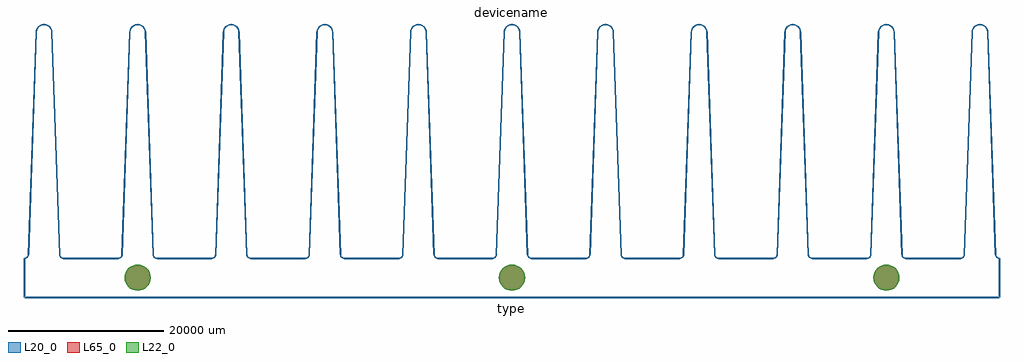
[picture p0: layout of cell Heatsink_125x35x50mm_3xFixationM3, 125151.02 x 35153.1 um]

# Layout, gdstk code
import gdstk
lib = gdstk.Library(unit=1e-6, precision=1e-09)
def P(c, l, *ps):  # polygons
    for p in ps: c.add(gdstk.Polygon(p, *l))
L20_0 = (20, 0)
L22_0 = (22, 0)
L65_0 = (65, 0)

heatsink_125x35x50mm_3xf = lib.new_cell('Heatsink_125x35x50mm_3xFixationM3')
P(heatsink_125x35x50mm_3xf, L22_0, [(49681,0),(49648.815,326.776),(49553.498,640.995),(49398.712,930.58),(49190.404,1184.404),(48936.58,1392.712),(48646.995,1547.498),(48332.776,1642.815),(48006,1675),(47679.224,1642.815),(47365.005,1547.498),(47075.42,1392.712),(46821.596,1184.404),(46613.288,930.58),(46458.502,640.995),(46363.185,326.776),(46331,0),(46363.185,-326.776),(46458.502,-640.995),(46613.288,-930.58),(46821.596,-1184.404),(47075.42,-1392.712),(47365.005,-1547.498),(47679.224,-1642.815),(48006,-1675),(48332.776,-1642.815),(48646.995,-1547.498),(48936.58,-1392.712),(49190.404,-1184.404),(49398.712,-930.58),(49553.498,-640.995),(49648.815,-326.776)],
  [(1675,0),(1642.815,326.776),(1547.498,640.995),(1392.712,930.58),(1184.404,1184.404),(930.58,1392.712),(640.995,1547.498),(326.776,1642.815),(0,1675),(-326.776,1642.815),(-640.995,1547.498),(-930.58,1392.712),(-1184.404,1184.404),(-1392.712,930.58),(-1547.498,640.995),(-1642.815,326.776),(-1675,0),(-1642.815,-326.776),(-1547.498,-640.995),(-1392.712,-930.58),(-1184.404,-1184.404),(-930.58,-1392.712),(-640.995,-1547.498),(-326.776,-1642.815),(0,-1675),(326.776,-1642.815),(640.995,-1547.498),(930.58,-1392.712),(1184.404,-1184.404),(1392.712,-930.58),(1547.498,-640.995),(1642.815,-326.776)],
  [(-46325,0),(-46357.185,326.776),(-46452.502,640.995),(-46607.288,930.58),(-46815.596,1184.404),(-47069.42,1392.712),(-47359.005,1547.498),(-47673.224,1642.815),(-48000,1675),(-48326.776,1642.815),(-48640.995,1547.498),(-48930.58,1392.712),(-49184.404,1184.404),(-49392.712,930.58),(-49547.498,640.995),(-49642.815,326.776),(-49675,0),(-49642.815,-326.776),(-49547.498,-640.995),(-49392.712,-930.58),(-49184.404,-1184.404),(-48930.58,-1392.712),(-48640.995,-1547.498),(-48326.776,-1642.815),(-48000,-1675),(-47673.224,-1642.815),(-47359.005,-1547.498),(-47069.42,-1392.712),(-46815.596,-1184.404),(-46607.288,-930.58),(-46452.502,-640.995),(-46357.185,-326.776)])
P(heatsink_125x35x50mm_3xf, L65_0, [(49681,0),(49648.815,326.776),(49553.498,640.995),(49398.712,930.58),(49190.404,1184.404),(48936.58,1392.712),(48646.995,1547.498),(48332.776,1642.815),(48006,1675),(47679.224,1642.815),(47365.005,1547.498),(47075.42,1392.712),(46821.596,1184.404),(46613.288,930.58),(46458.502,640.995),(46363.185,326.776),(46331,0),(46363.185,-326.776),(46458.502,-640.995),(46613.288,-930.58),(46821.596,-1184.404),(47075.42,-1392.712),(47365.005,-1547.498),(47679.224,-1642.815),(48006,-1675),(48332.776,-1642.815),(48646.995,-1547.498),(48936.58,-1392.712),(49190.404,-1184.404),(49398.712,-930.58),(49553.498,-640.995),(49648.815,-326.776)],
  [(1675,0),(1642.815,326.776),(1547.498,640.995),(1392.712,930.58),(1184.404,1184.404),(930.58,1392.712),(640.995,1547.498),(326.776,1642.815),(0,1675),(-326.776,1642.815),(-640.995,1547.498),(-930.58,1392.712),(-1184.404,1184.404),(-1392.712,930.58),(-1547.498,640.995),(-1642.815,326.776),(-1675,0),(-1642.815,-326.776),(-1547.498,-640.995),(-1392.712,-930.58),(-1184.404,-1184.404),(-930.58,-1392.712),(-640.995,-1547.498),(-326.776,-1642.815),(0,-1675),(326.776,-1642.815),(640.995,-1547.498),(930.58,-1392.712),(1184.404,-1184.404),(1392.712,-930.58),(1547.498,-640.995),(1642.815,-326.776)],
  [(-46325,0),(-46357.185,326.776),(-46452.502,640.995),(-46607.288,930.58),(-46815.596,1184.404),(-47069.42,1392.712),(-47359.005,1547.498),(-47673.224,1642.815),(-48000,1675),(-48326.776,1642.815),(-48640.995,1547.498),(-48930.58,1392.712),(-49184.404,1184.404),(-49392.712,930.58),(-49547.498,640.995),(-49642.815,326.776),(-49675,0),(-49642.815,-326.776),(-49547.498,-640.995),(-49392.712,-930.58),(-49184.404,-1184.404),(-48930.58,-1392.712),(-48640.995,-1547.498),(-48326.776,-1642.815),(-48000,-1675),(-47673.224,-1642.815),(-47359.005,-1547.498),(-47069.42,-1392.712),(-46815.596,-1184.404),(-46607.288,-930.58),(-46452.502,-640.995),(-46357.185,-326.776)])
heatsink_125x35x50mm_3xf.add(gdstk.FlexPath([(62501.78,-2540),(62501.78,2461.26)], 149.998, ends="flush", simple_path=True, layer=20, datatype=0))  # L20_0
heatsink_125x35x50mm_3xf.add(gdstk.FlexPath([(-62499.24,-2540),(62501.78,-2540)], 149.998, ends="flush", simple_path=True, layer=20, datatype=0))  # L20_0
heatsink_125x35x50mm_3xf.add(gdstk.FlexPath([(-62499.24,-2540),(-62499.24,2461.26)], 149.998, ends="flush", simple_path=True, layer=20, datatype=0))  # L20_0
heatsink_125x35x50mm_3xf.add(gdstk.FlexPath([(-2496.82,2461.26),(-2367.312,2478.31),(-2246.63,2528.298),(-2142.998,2607.818),(-2063.478,2711.45),(-2013.49,2832.132),(-1996.44,2961.64)], 149.998, ends="flush", simple_path=True, layer=20, datatype=0))  # L20_0
heatsink_125x35x50mm_3xf.add(gdstk.FlexPath([(2001.52,2959.1),(2018.483,2830.25),(2068.218,2710.18),(2147.334,2607.074),(2250.44,2527.958),(2370.51,2478.223),(2499.36,2461.26)], 149.998, ends="flush", simple_path=True, layer=20, datatype=0))  # L20_0
heatsink_125x35x50mm_3xf.add(gdstk.FlexPath([(1998.98,2959.1),(1000.76,31460.44)], 149.998, ends="flush", simple_path=True, layer=20, datatype=0))  # L20_0
heatsink_125x35x50mm_3xf.add(gdstk.FlexPath([(-1000.76,31460.44),(-1998.98,2959.1)], 149.998, ends="flush", simple_path=True, layer=20, datatype=0))  # L20_0
heatsink_125x35x50mm_3xf.add(gdstk.FlexPath([(1000.76,31460.44),(966.66,31719.456),(866.684,31960.82),(707.644,32168.084),(500.38,32327.124),(259.016,32427.1),(0,32461.2)], 149.998, ends="flush", simple_path=True, layer=20, datatype=0))  # L20_0
heatsink_125x35x50mm_3xf.add(gdstk.FlexPath([(0,32461.2),(-259.016,32427.1),(-500.38,32327.124),(-707.644,32168.084),(-866.684,31960.82),(-966.66,31719.456),(-1000.76,31460.44)], 149.998, ends="flush", simple_path=True, layer=20, datatype=0))  # L20_0
heatsink_125x35x50mm_3xf.add(gdstk.FlexPath([(-14495.78,2461.26),(-14366.272,2478.31),(-14245.59,2528.298),(-14141.958,2607.818),(-14062.438,2711.45),(-14012.45,2832.132),(-13995.4,2961.64)], 149.998, ends="flush", simple_path=True, layer=20, datatype=0))  # L20_0
heatsink_125x35x50mm_3xf.add(gdstk.FlexPath([(-9997.44,2959.1),(-9980.477,2830.25),(-9930.742,2710.18),(-9851.626,2607.074),(-9748.52,2527.958),(-9628.45,2478.223),(-9499.6,2461.26)], 149.998, ends="flush", simple_path=True, layer=20, datatype=0))  # L20_0
heatsink_125x35x50mm_3xf.add(gdstk.FlexPath([(-9999.98,2959.1),(-10998.2,31460.44)], 149.998, ends="flush", simple_path=True, layer=20, datatype=0))  # L20_0
heatsink_125x35x50mm_3xf.add(gdstk.FlexPath([(-12999.72,31460.44),(-13997.94,2959.1)], 149.998, ends="flush", simple_path=True, layer=20, datatype=0))  # L20_0
heatsink_125x35x50mm_3xf.add(gdstk.FlexPath([(-10998.2,31460.44),(-11032.3,31719.456),(-11132.276,31960.82),(-11291.316,32168.084),(-11498.58,32327.124),(-11739.944,32427.1),(-11998.96,32461.2)], 149.998, ends="flush", simple_path=True, layer=20, datatype=0))  # L20_0
heatsink_125x35x50mm_3xf.add(gdstk.FlexPath([(-11998.96,32461.2),(-12257.976,32427.1),(-12499.34,32327.124),(-12706.604,32168.084),(-12865.644,31960.82),(-12965.62,31719.456),(-12999.72,31460.44)], 149.998, ends="flush", simple_path=True, layer=20, datatype=0))  # L20_0
heatsink_125x35x50mm_3xf.add(gdstk.FlexPath([(-26494.74,2463.8),(-26365.232,2480.85),(-26244.55,2530.838),(-26140.918,2610.358),(-26061.398,2713.99),(-26011.41,2834.672),(-25994.36,2964.18)], 149.998, ends="flush", simple_path=True, layer=20, datatype=0))  # L20_0
heatsink_125x35x50mm_3xf.add(gdstk.FlexPath([(-21996.4,2961.64),(-21979.437,2832.79),(-21929.702,2712.72),(-21850.586,2609.614),(-21747.48,2530.498),(-21627.41,2480.763),(-21498.56,2463.8)], 149.998, ends="flush", simple_path=True, layer=20, datatype=0))  # L20_0
heatsink_125x35x50mm_3xf.add(gdstk.FlexPath([(-21998.94,2961.64),(-22997.16,31462.98)], 149.998, ends="flush", simple_path=True, layer=20, datatype=0))  # L20_0
heatsink_125x35x50mm_3xf.add(gdstk.FlexPath([(-24998.68,31462.98),(-25996.9,2961.64)], 149.998, ends="flush", simple_path=True, layer=20, datatype=0))  # L20_0
heatsink_125x35x50mm_3xf.add(gdstk.FlexPath([(-22997.16,31462.98),(-23031.26,31721.996),(-23131.236,31963.36),(-23290.276,32170.624),(-23497.54,32329.664),(-23738.904,32429.64),(-23997.92,32463.74)], 149.998, ends="flush", simple_path=True, layer=20, datatype=0))  # L20_0
heatsink_125x35x50mm_3xf.add(gdstk.FlexPath([(-23997.92,32463.74),(-24256.936,32429.64),(-24498.3,32329.664),(-24705.564,32170.624),(-24864.604,31963.36),(-24964.58,31721.996),(-24998.68,31462.98)], 149.998, ends="flush", simple_path=True, layer=20, datatype=0))  # L20_0
heatsink_125x35x50mm_3xf.add(gdstk.FlexPath([(-38496.24,2463.8),(-38366.732,2480.85),(-38246.05,2530.838),(-38142.418,2610.358),(-38062.898,2713.99),(-38012.91,2834.672),(-37995.86,2964.18)], 149.998, ends="flush", simple_path=True, layer=20, datatype=0))  # L20_0
heatsink_125x35x50mm_3xf.add(gdstk.FlexPath([(-33997.9,2961.64),(-33980.937,2832.79),(-33931.202,2712.72),(-33852.086,2609.614),(-33748.98,2530.498),(-33628.91,2480.763),(-33500.06,2463.8)], 149.998, ends="flush", simple_path=True, layer=20, datatype=0))  # L20_0
heatsink_125x35x50mm_3xf.add(gdstk.FlexPath([(-34000.44,2961.64),(-34998.66,31462.98)], 149.998, ends="flush", simple_path=True, layer=20, datatype=0))  # L20_0
heatsink_125x35x50mm_3xf.add(gdstk.FlexPath([(-37000.18,31462.98),(-37998.4,2961.64)], 149.998, ends="flush", simple_path=True, layer=20, datatype=0))  # L20_0
heatsink_125x35x50mm_3xf.add(gdstk.FlexPath([(-34998.66,31462.98),(-35032.76,31721.996),(-35132.736,31963.36),(-35291.776,32170.624),(-35499.04,32329.664),(-35740.404,32429.64),(-35999.42,32463.74)], 149.998, ends="flush", simple_path=True, layer=20, datatype=0))  # L20_0
heatsink_125x35x50mm_3xf.add(gdstk.FlexPath([(-35999.42,32463.74),(-36258.436,32429.64),(-36499.8,32329.664),(-36707.064,32170.624),(-36866.104,31963.36),(-36966.08,31721.996),(-37000.18,31462.98)], 149.998, ends="flush", simple_path=True, layer=20, datatype=0))  # L20_0
heatsink_125x35x50mm_3xf.add(gdstk.FlexPath([(-50497.74,2461.26),(-50368.232,2478.31),(-50247.55,2528.298),(-50143.918,2607.818),(-50064.398,2711.45),(-50014.41,2832.132),(-49997.36,2961.64)], 149.998, ends="flush", simple_path=True, layer=20, datatype=0))  # L20_0
heatsink_125x35x50mm_3xf.add(gdstk.FlexPath([(-45999.4,2959.1),(-45982.437,2830.25),(-45932.702,2710.18),(-45853.586,2607.074),(-45750.48,2527.958),(-45630.41,2478.223),(-45501.56,2461.26)], 149.998, ends="flush", simple_path=True, layer=20, datatype=0))  # L20_0
heatsink_125x35x50mm_3xf.add(gdstk.FlexPath([(-46001.94,2959.1),(-47000.16,31460.44)], 149.998, ends="flush", simple_path=True, layer=20, datatype=0))  # L20_0
heatsink_125x35x50mm_3xf.add(gdstk.FlexPath([(-49001.68,31460.44),(-49999.9,2959.1)], 149.998, ends="flush", simple_path=True, layer=20, datatype=0))  # L20_0
heatsink_125x35x50mm_3xf.add(gdstk.FlexPath([(-47000.16,31460.44),(-47034.26,31719.456),(-47134.236,31960.82),(-47293.276,32168.084),(-47500.54,32327.124),(-47741.904,32427.1),(-48000.92,32461.2)], 149.998, ends="flush", simple_path=True, layer=20, datatype=0))  # L20_0
heatsink_125x35x50mm_3xf.add(gdstk.FlexPath([(-48000.92,32461.2),(-48259.936,32427.1),(-48501.3,32327.124),(-48708.564,32168.084),(-48867.604,31960.82),(-48967.58,31719.456),(-49001.68,31460.44)], 149.998, ends="flush", simple_path=True, layer=20, datatype=0))  # L20_0
heatsink_125x35x50mm_3xf.add(gdstk.FlexPath([(-62496.7,2463.8),(-62367.192,2480.85),(-62246.51,2530.838),(-62142.878,2610.358),(-62063.358,2713.99),(-62013.37,2834.672),(-61996.32,2964.18)], 149.998, ends="flush", simple_path=True, layer=20, datatype=0))  # L20_0
heatsink_125x35x50mm_3xf.add(gdstk.FlexPath([(-57998.36,2961.64),(-57981.397,2832.79),(-57931.662,2712.72),(-57852.546,2609.614),(-57749.44,2530.498),(-57629.37,2480.763),(-57500.52,2463.8)], 149.998, ends="flush", simple_path=True, layer=20, datatype=0))  # L20_0
heatsink_125x35x50mm_3xf.add(gdstk.FlexPath([(-58000.9,2961.64),(-58999.12,31462.98)], 149.998, ends="flush", simple_path=True, layer=20, datatype=0))  # L20_0
heatsink_125x35x50mm_3xf.add(gdstk.FlexPath([(-61000.64,31462.98),(-61998.86,2961.64)], 149.998, ends="flush", simple_path=True, layer=20, datatype=0))  # L20_0
heatsink_125x35x50mm_3xf.add(gdstk.FlexPath([(-58999.12,31462.98),(-59033.22,31721.996),(-59133.196,31963.36),(-59292.236,32170.624),(-59499.5,32329.664),(-59740.864,32429.64),(-59999.88,32463.74)], 149.998, ends="flush", simple_path=True, layer=20, datatype=0))  # L20_0
heatsink_125x35x50mm_3xf.add(gdstk.FlexPath([(-59999.88,32463.74),(-60258.896,32429.64),(-60500.26,32329.664),(-60707.524,32170.624),(-60866.564,31963.36),(-60966.54,31721.996),(-61000.64,31462.98)], 149.998, ends="flush", simple_path=True, layer=20, datatype=0))  # L20_0
heatsink_125x35x50mm_3xf.add(gdstk.FlexPath([(9502.14,2463.8),(9631.648,2480.85),(9752.33,2530.838),(9855.962,2610.358),(9935.482,2713.99),(9985.47,2834.672),(10002.52,2964.18)], 149.998, ends="flush", simple_path=True, layer=20, datatype=0))  # L20_0
heatsink_125x35x50mm_3xf.add(gdstk.FlexPath([(14000.48,2961.64),(14017.443,2832.79),(14067.178,2712.72),(14146.294,2609.614),(14249.4,2530.498),(14369.47,2480.763),(14498.32,2463.8)], 149.998, ends="flush", simple_path=True, layer=20, datatype=0))  # L20_0
heatsink_125x35x50mm_3xf.add(gdstk.FlexPath([(13997.94,2961.64),(12999.72,31462.98)], 149.998, ends="flush", simple_path=True, layer=20, datatype=0))  # L20_0
heatsink_125x35x50mm_3xf.add(gdstk.FlexPath([(10998.2,31462.98),(9999.98,2961.64)], 149.998, ends="flush", simple_path=True, layer=20, datatype=0))  # L20_0
heatsink_125x35x50mm_3xf.add(gdstk.FlexPath([(12999.72,31462.98),(12965.62,31721.996),(12865.644,31963.36),(12706.604,32170.624),(12499.34,32329.664),(12257.976,32429.64),(11998.96,32463.74)], 149.998, ends="flush", simple_path=True, layer=20, datatype=0))  # L20_0
heatsink_125x35x50mm_3xf.add(gdstk.FlexPath([(11998.96,32463.74),(11739.944,32429.64),(11498.58,32329.664),(11291.316,32170.624),(11132.276,31963.36),(11032.3,31721.996),(10998.2,31462.98)], 149.998, ends="flush", simple_path=True, layer=20, datatype=0))  # L20_0
heatsink_125x35x50mm_3xf.add(gdstk.FlexPath([(21501.1,2463.8),(21630.608,2480.85),(21751.29,2530.838),(21854.922,2610.358),(21934.442,2713.99),(21984.43,2834.672),(22001.48,2964.18)], 149.998, ends="flush", simple_path=True, layer=20, datatype=0))  # L20_0
heatsink_125x35x50mm_3xf.add(gdstk.FlexPath([(25999.44,2961.64),(26016.403,2832.79),(26066.138,2712.72),(26145.254,2609.614),(26248.36,2530.498),(26368.43,2480.763),(26497.28,2463.8)], 149.998, ends="flush", simple_path=True, layer=20, datatype=0))  # L20_0
heatsink_125x35x50mm_3xf.add(gdstk.FlexPath([(25996.9,2961.64),(24998.68,31462.98)], 149.998, ends="flush", simple_path=True, layer=20, datatype=0))  # L20_0
heatsink_125x35x50mm_3xf.add(gdstk.FlexPath([(22997.16,31462.98),(21998.94,2961.64)], 149.998, ends="flush", simple_path=True, layer=20, datatype=0))  # L20_0
heatsink_125x35x50mm_3xf.add(gdstk.FlexPath([(24998.68,31462.98),(24964.58,31721.996),(24864.604,31963.36),(24705.564,32170.624),(24498.3,32329.664),(24256.936,32429.64),(23997.92,32463.74)], 149.998, ends="flush", simple_path=True, layer=20, datatype=0))  # L20_0
heatsink_125x35x50mm_3xf.add(gdstk.FlexPath([(23997.92,32463.74),(23738.904,32429.64),(23497.54,32329.664),(23290.276,32170.624),(23131.236,31963.36),(23031.26,31721.996),(22997.16,31462.98)], 149.998, ends="flush", simple_path=True, layer=20, datatype=0))  # L20_0
heatsink_125x35x50mm_3xf.add(gdstk.FlexPath([(33505.14,2461.26),(33634.648,2478.31),(33755.33,2528.298),(33858.962,2607.818),(33938.482,2711.45),(33988.47,2832.132),(34005.52,2961.64)], 149.998, ends="flush", simple_path=True, layer=20, datatype=0))  # L20_0
heatsink_125x35x50mm_3xf.add(gdstk.FlexPath([(38003.48,2959.1),(38020.443,2830.25),(38070.178,2710.18),(38149.294,2607.074),(38252.4,2527.958),(38372.47,2478.223),(38501.32,2461.26)], 149.998, ends="flush", simple_path=True, layer=20, datatype=0))  # L20_0
heatsink_125x35x50mm_3xf.add(gdstk.FlexPath([(38000.94,2959.1),(37002.72,31460.44)], 149.998, ends="flush", simple_path=True, layer=20, datatype=0))  # L20_0
heatsink_125x35x50mm_3xf.add(gdstk.FlexPath([(35001.2,31460.44),(34002.98,2959.1)], 149.998, ends="flush", simple_path=True, layer=20, datatype=0))  # L20_0
heatsink_125x35x50mm_3xf.add(gdstk.FlexPath([(37002.72,31460.44),(36968.62,31719.456),(36868.644,31960.82),(36709.604,32168.084),(36502.34,32327.124),(36260.976,32427.1),(36001.96,32461.2)], 149.998, ends="flush", simple_path=True, layer=20, datatype=0))  # L20_0
heatsink_125x35x50mm_3xf.add(gdstk.FlexPath([(36001.96,32461.2),(35742.944,32427.1),(35501.58,32327.124),(35294.316,32168.084),(35135.276,31960.82),(35035.3,31719.456),(35001.2,31460.44)], 149.998, ends="flush", simple_path=True, layer=20, datatype=0))  # L20_0
heatsink_125x35x50mm_3xf.add(gdstk.FlexPath([(45504.1,2461.26),(45633.608,2478.31),(45754.29,2528.298),(45857.922,2607.818),(45937.442,2711.45),(45987.43,2832.132),(46004.48,2961.64)], 149.998, ends="flush", simple_path=True, layer=20, datatype=0))  # L20_0
heatsink_125x35x50mm_3xf.add(gdstk.FlexPath([(50002.44,2959.1),(50019.403,2830.25),(50069.138,2710.18),(50148.254,2607.074),(50251.36,2527.958),(50371.43,2478.223),(50500.28,2461.26)], 149.998, ends="flush", simple_path=True, layer=20, datatype=0))  # L20_0
heatsink_125x35x50mm_3xf.add(gdstk.FlexPath([(49999.9,2959.1),(49001.68,31460.44)], 149.998, ends="flush", simple_path=True, layer=20, datatype=0))  # L20_0
heatsink_125x35x50mm_3xf.add(gdstk.FlexPath([(47000.16,31460.44),(46001.94,2959.1)], 149.998, ends="flush", simple_path=True, layer=20, datatype=0))  # L20_0
heatsink_125x35x50mm_3xf.add(gdstk.FlexPath([(49001.68,31460.44),(48967.58,31719.456),(48867.604,31960.82),(48708.564,32168.084),(48501.3,32327.124),(48259.936,32427.1),(48000.92,32461.2)], 149.998, ends="flush", simple_path=True, layer=20, datatype=0))  # L20_0
heatsink_125x35x50mm_3xf.add(gdstk.FlexPath([(48000.92,32461.2),(47741.904,32427.1),(47500.54,32327.124),(47293.276,32168.084),(47134.236,31960.82),(47034.26,31719.456),(47000.16,31460.44)], 149.998, ends="flush", simple_path=True, layer=20, datatype=0))  # L20_0
heatsink_125x35x50mm_3xf.add(gdstk.FlexPath([(57503.06,2463.8),(57632.568,2480.85),(57753.25,2530.838),(57856.882,2610.358),(57936.402,2713.99),(57986.39,2834.672),(58003.44,2964.18)], 149.998, ends="flush", simple_path=True, layer=20, datatype=0))  # L20_0
heatsink_125x35x50mm_3xf.add(gdstk.FlexPath([(62001.4,2961.64),(62018.363,2832.79),(62068.098,2712.72),(62147.214,2609.614),(62250.32,2530.498),(62370.39,2480.763),(62499.24,2463.8)], 149.998, ends="flush", simple_path=True, layer=20, datatype=0))  # L20_0
heatsink_125x35x50mm_3xf.add(gdstk.FlexPath([(61998.86,2961.64),(61000.64,31462.98)], 149.998, ends="flush", simple_path=True, layer=20, datatype=0))  # L20_0
heatsink_125x35x50mm_3xf.add(gdstk.FlexPath([(58999.12,31462.98),(58000.9,2961.64)], 149.998, ends="flush", simple_path=True, layer=20, datatype=0))  # L20_0
heatsink_125x35x50mm_3xf.add(gdstk.FlexPath([(61000.64,31462.98),(60966.54,31721.996),(60866.564,31963.36),(60707.524,32170.624),(60500.26,32329.664),(60258.896,32429.64),(59999.88,32463.74)], 149.998, ends="flush", simple_path=True, layer=20, datatype=0))  # L20_0
heatsink_125x35x50mm_3xf.add(gdstk.FlexPath([(59999.88,32463.74),(59740.864,32429.64),(59499.5,32329.664),(59292.236,32170.624),(59133.196,31963.36),(59033.22,31721.996),(58999.12,31462.98)], 149.998, ends="flush", simple_path=True, layer=20, datatype=0))  # L20_0
heatsink_125x35x50mm_3xf.add(gdstk.FlexPath([(57500.52,2461.26),(50500.28,2461.26)], 149.998, ends="flush", simple_path=True, layer=20, datatype=0))  # L20_0
heatsink_125x35x50mm_3xf.add(gdstk.FlexPath([(45499.02,2461.26),(38498.78,2461.26)], 149.998, ends="flush", simple_path=True, layer=20, datatype=0))  # L20_0
heatsink_125x35x50mm_3xf.add(gdstk.FlexPath([(33500.06,2461.26),(26499.82,2461.26)], 149.998, ends="flush", simple_path=True, layer=20, datatype=0))  # L20_0
heatsink_125x35x50mm_3xf.add(gdstk.FlexPath([(21501.1,2461.26),(14500.86,2461.26)], 149.998, ends="flush", simple_path=True, layer=20, datatype=0))  # L20_0
heatsink_125x35x50mm_3xf.add(gdstk.FlexPath([(9499.6,2461.26),(2499.36,2461.26)], 149.998, ends="flush", simple_path=True, layer=20, datatype=0))  # L20_0
heatsink_125x35x50mm_3xf.add(gdstk.FlexPath([(-2499.36,2461.26),(-9499.6,2461.26)], 149.998, ends="flush", simple_path=True, layer=20, datatype=0))  # L20_0
heatsink_125x35x50mm_3xf.add(gdstk.FlexPath([(-14500.86,2461.26),(-21501.1,2461.26)], 149.998, ends="flush", simple_path=True, layer=20, datatype=0))  # L20_0
heatsink_125x35x50mm_3xf.add(gdstk.FlexPath([(-26499.82,2461.26),(-33500.06,2461.26)], 149.998, ends="flush", simple_path=True, layer=20, datatype=0))  # L20_0
heatsink_125x35x50mm_3xf.add(gdstk.FlexPath([(-38498.78,2461.26),(-45499.02,2461.26)], 149.998, ends="flush", simple_path=True, layer=20, datatype=0))  # L20_0
heatsink_125x35x50mm_3xf.add(gdstk.FlexPath([(-50500.28,2461.26),(-57500.52,2461.26)], 149.998, ends="flush", simple_path=True, layer=20, datatype=0))  # L20_0
heatsink_125x35x50mm_3xf.add(gdstk.Label('type', (0,-4000), layer=9, texttype=0))
heatsink_125x35x50mm_3xf.add(gdstk.Label('devicename', (0,34000), layer=9, texttype=0))

lib.write_gds('Heatsink_125x35x50mm_3xFixationM3.gds')
